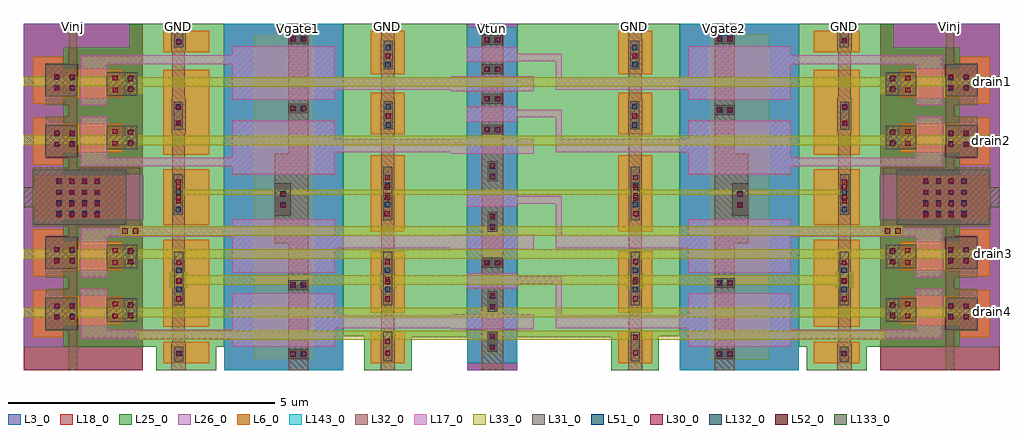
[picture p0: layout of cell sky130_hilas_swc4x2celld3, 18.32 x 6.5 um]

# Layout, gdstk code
from math import pi, radians
import gdstk
lib = gdstk.Library(unit=1e-6, precision=1e-09)
def R(c, l, rs):  # rectangles x0, y0, x1, y1
    for r in rs: c.add(gdstk.rectangle(r[:2], r[2:], *l))
def A(c, l, x, y, w, h, nx, ny, dx, dy):  # array of equal rectangles
    R(c, l, [(x+i*dx, y+j*dy, x+i*dx+w, y+j*dy+h) for i in range(nx) for j in range(ny)])
L3_0 = (3, 0)
L6_0 = (6, 0)
L17_0 = (17, 0)
L18_0 = (18, 0)
L25_0 = (25, 0)
L26_0 = (26, 0)
L30_0 = (30, 0)
L31_0 = (31, 0)
L32_0 = (32, 0)
L33_0 = (33, 0)
L51_0 = (51, 0)
L52_0 = (52, 0)
L132_0 = (132, 0)
L133_0 = (133, 0)
L143_0 = (143, 0)

sky130_hilas_tuncap01 = lib.new_cell('sky130_hilas_TunCap01')
R(sky130_hilas_tuncap01, L3_0, [(0,0,0.94,1.645)])
R(sky130_hilas_tuncap01, L6_0, [(0.27,0.16,0.67,1.485)])
R(sky130_hilas_tuncap01, L18_0, [(0,0,0.94,1.645)])
R(sky130_hilas_tuncap01, L26_0, [(0,0,0.835,1.645)])

m1_od_cdns_693790061186 = lib.new_cell('M1_OD_CDNS_693790061186')
R(m1_od_cdns_693790061186, L6_0, [(-0.075,-0.075,0.075,0.075)])
R(m1_od_cdns_693790061186, L30_0, [(-0.045,-0.045,0.045,0.045)])
R(m1_od_cdns_693790061186, L31_0, [(-0.085,-0.085,0.085,0.085)])

m2_m1_cdns_693790061181 = lib.new_cell('M2_M1_CDNS_693790061181')
R(m2_m1_cdns_693790061181, L31_0, [(-0.09,-0.19,0.09,0.19)])
R(m2_m1_cdns_693790061181, L32_0, [(-0.09,-0.19,0.09,0.19)])
R(m2_m1_cdns_693790061181, L51_0, [(-0.05,-0.15,0.05,-0.05), (-0.05,0.05,0.05,0.15)])

m1_od_cdns_693790061180 = lib.new_cell('M1_OD_CDNS_693790061180')
R(m1_od_cdns_693790061180, L6_0, [(-0.075,-0.18,0.075,0.18)])
R(m1_od_cdns_693790061180, L30_0, [(-0.045,-0.15,0.045,-0.06), (-0.045,0.06,0.045,0.15)])
R(m1_od_cdns_693790061180, L31_0, [(-0.085,-0.19,0.085,0.19)])

m3_m2_cdns_693790061185 = lib.new_cell('M3_M2_CDNS_693790061185')
R(m3_m2_cdns_693790061185, L32_0, [(-0.09,-0.19,0.09,0.19)])
R(m3_m2_cdns_693790061185, L33_0, [(-0.09,-0.19,0.09,0.19)])
R(m3_m2_cdns_693790061185, L52_0, [(-0.05,-0.15,0.05,-0.05), (-0.05,0.05,0.05,0.15)])

sky130_hilas_horizpcell0 = lib.new_cell('sky130_hilas_horizPcell01d3')
R(sky130_hilas_horizpcell0, L3_0, [(0,0,2.24,1.92)])
R(sky130_hilas_horizpcell0, L6_0, [(1.49,0.62,2.055,1.5), (0.38,0.85,1.49,1.39)])
R(sky130_hilas_horizpcell0, L17_0, [(0.67,0.59,1.17,0.76), (0.67,0.76,1.17,1.53)])
R(sky130_hilas_horizpcell0, L25_0, [(0.25,0.44,1.49,1.68)])
R(sky130_hilas_horizpcell0, L26_0, [(1.49,0.44,2.24,1.68)])
R(sky130_hilas_horizpcell0, L31_0, [(1.23,0.76,1.83,1.36), (0.1,0.91,0.68,1.35)])
R(sky130_hilas_horizpcell0, L32_0, [(1.23,0,1.39,0.74), (1.23,0.74,1.82,0.76), (1.21,0.76,1.82,1), (1.23,1,1.82,1.53), (1.23,1.53,1.39,1.92)])
R(sky130_hilas_horizpcell0, L33_0, [(0,0.99,0.14,1.17), (0.32,0.99,2.24,1.17)])
sky130_hilas_horizpcell0.add(gdstk.Reference(m1_od_cdns_693790061186, (0.515,1.015)))
sky130_hilas_horizpcell0.add(gdstk.Reference(m1_od_cdns_693790061186, (0.515,1.24)))
sky130_hilas_horizpcell0.add(gdstk.Reference(m2_m1_cdns_693790061181, (1.325,1.105)))
sky130_hilas_horizpcell0.add(gdstk.Reference(m2_m1_cdns_693790061181, (1.615,1.1)))
sky130_hilas_horizpcell0.add(gdstk.Reference(m2_m1_cdns_693790061181, (0.23,1.125)))
sky130_hilas_horizpcell0.add(gdstk.Reference(m1_od_cdns_693790061180, (1.615,1.1)))
sky130_hilas_horizpcell0.add(gdstk.Reference(m1_od_cdns_693790061180, (1.325,1.1)))
sky130_hilas_horizpcell0.add(gdstk.Reference(m3_m2_cdns_693790061185, (0.23,1.125)))

sky130_hilas_fgvaractorc = lib.new_cell('sky130_hilas_FGVaractorCapacitor')
R(sky130_hilas_fgvaractorc, L3_0, [(0,0,2.23,1.86)])
R(sky130_hilas_fgvaractorc, L6_0, [(0.56,0.325,1.67,1.555)])
R(sky130_hilas_fgvaractorc, L17_0, [(0.16,0.44,2.08,1.44)])
R(sky130_hilas_fgvaractorc, L18_0, [(0,0,2.23,1.86)])
R(sky130_hilas_fgvaractorc, L26_0, [(0,0.215,2.23,1.635)])
R(sky130_hilas_fgvaractorc, L32_0, [(0.65,0,1.03,1.86)])

m2_m1_cdns_693790061187 = lib.new_cell('M2_M1_CDNS_693790061187')
R(m2_m1_cdns_693790061187, L31_0, [(-0.45,-0.39,0.45,0.39)])
R(m2_m1_cdns_693790061187, L32_0, [(-0.45,-0.39,0.45,0.39)])
A(m2_m1_cdns_693790061187, L51_0, -0.41, -0.35, 0.1, 0.1, 4, 4, 0.24, 0.2)

m1_od_cdns_693790061188 = lib.new_cell('M1_OD_CDNS_693790061188')
R(m1_od_cdns_693790061188, L6_0, [(-0.435,-0.39,0.435,0.39)])
A(m1_od_cdns_693790061188, L30_0, -0.405, -0.36, 0.09, 0.09, 4, 4, 0.24, 0.21)
R(m1_od_cdns_693790061188, L31_0, [(-0.445,-0.4,0.445,0.4)])

m1_od_cdns_693790061182 = lib.new_cell('M1_OD_CDNS_693790061182')
R(m1_od_cdns_693790061182, L6_0, [(-0.18,-0.075,0.18,0.075)])
R(m1_od_cdns_693790061182, L30_0, [(-0.15,-0.045,-0.06,0.045), (0.06,-0.045,0.15,0.045)])
R(m1_od_cdns_693790061182, L31_0, [(-0.19,-0.085,0.19,0.085)])

m2_m1_cdns_693790061183 = lib.new_cell('M2_M1_CDNS_693790061183')
R(m2_m1_cdns_693790061183, L31_0, [(-0.19,-0.09,0.19,0.09)])
R(m2_m1_cdns_693790061183, L32_0, [(-0.19,-0.09,0.19,0.09)])
R(m2_m1_cdns_693790061183, L51_0, [(-0.15,-0.05,-0.05,0.05), (0.05,-0.05,0.15,0.05)])

sky130_hilas_cellattempt = lib.new_cell('sky130_hilas_cellAttempt01d3_pt1')
R(sky130_hilas_cellattempt, L3_0, [(0.48,0,1.42,0.13), (4.385,2.33,5.325,4.06), (7.51,2.87,9.75,3.62), (0.48,3.145,1.42,3.425), (0.48,6.365,1.42,6.5)])
R(sky130_hilas_cellattempt, L6_0, [(2.59,0.13,3.23,0.735), (6.26,0.13,7.13,0.535), (4.31,0.205,5.42,0.325), (6.26,0.815,7.13,2.445), (2.59,1.085,3.23,2.235), (4.31,1.51,5.42,1.78), (0.75,1.6,1.15,1.69), (2.59,2.61,3.23,4.035), (6.26,2.725,7.13,3.775), (7.82,2.84,9.59,3.65), (4.31,2.945,5.42,3.565), (0.75,2.99,1.15,3.58), (6.26,4.045,7.13,5.64), (2.59,4.43,3.23,5.205), (4.31,4.75,5.42,4.98), (0.75,4.88,1.15,4.89), (2.59,5.555,3.23,6.37), (6.26,5.965,7.13,6.37), (4.31,6.195,5.42,6.3)])
R(sky130_hilas_cellattempt, L17_0, [(5.83,0.59,8.18,0.76), (0.17,0.77,1.72,1.05), (1.72,0.79,3.91,1.03), (0.17,2.265,1.72,2.545), (1.72,2.29,3.93,2.53), (5.83,2.5,8.18,2.62), (5.83,2.62,8.18,2.67), (5.83,3.83,8.18,3.99), (0.17,4.065,1.72,4.345), (1.72,4.09,3.91,4.33), (0.17,5.235,1.72,5.515), (1.72,5.26,3.91,5.5), (5.83,5.74,8.18,5.87), (5.83,5.87,8.18,5.91)])
R(sky130_hilas_cellattempt, L18_0, [(0.48,0,1.42,0.13), (7.51,0,9.75,6.5), (4.385,2.33,5.325,4.06), (0.48,3.145,1.42,3.425), (0.48,6.365,1.42,6.5)])
R(sky130_hilas_cellattempt, L25_0, [(2.465,0,3.355,6.5), (6.135,0,7.255,6.5)])
R(sky130_hilas_cellattempt, L26_0, [(0.48,0,1.42,0.13), (3.75,0.185,5.98,0.215), (0.645,1.64,1.26,1.665), (7.51,2.82,9.75,3.67), (3.75,3.025,5.98,3.455), (0.48,3.03,1.42,3.555), (7.76,6.06,9.75,6.5), (3.75,6.275,5.98,6.32), (0.48,6.365,1.42,6.5)])
R(sky130_hilas_cellattempt, L30_0, [(6.785,0.265,6.875,0.355), (2.87,1.295,2.96,1.385), (6.79,1.295,6.88,1.385), (6.785,1.635,6.875,1.725), (2.87,1.655,2.96,1.745), (6.785,1.975,6.875,2.065), (2.87,1.99,2.96,2.08), (2.875,2.89,2.965,2.98), (6.795,3.13,6.885,3.22), (2.87,3.23,2.96,3.32), (6.8,3.48,6.89,3.57), (2.87,3.57,2.96,3.66), (6.8,4.59,6.89,4.68), (2.855,4.72,2.945,4.81), (6.8,4.895,6.89,4.985), (2.86,5.845,2.95,5.935), (6.79,6.115,6.88,6.205)])
R(sky130_hilas_cellattempt, L31_0, [(6.75,0.155,6.92,0.44), (2.83,0.17,3,0.72), (2.83,1.215,3,2.225), (6.75,1.215,6.92,2.225), (7.825,2.73,8.75,3.76), (8.75,2.73,9.555,3.76), (2.83,2.81,3,3.82), (4.73,2.9,5.03,3.505), (6.76,2.92,6.93,3.68), (6.76,4.51,6.93,5.04), (2.82,4.52,2.99,5.05), (2.82,5.65,2.99,6.18), (6.75,6.06,6.92,6.35)])
R(sky130_hilas_cellattempt, L32_0, [(0.745,0,1.145,6.5), (2.78,0,3.04,0.695), (4.4,0,4.78,0.6), (6.705,0,6.975,0.51), (6.72,0.51,6.96,1.54), (2.79,0.695,3.03,1.5), (2.78,1.5,3.04,1.82), (6.71,1.54,6.97,1.86), (2.79,1.82,3.03,4.43), (6.72,1.86,6.96,4.45), (4.73,2.385,5.03,4.06), (7.555,2.69,9.59,3.8), (2.78,4.43,3.04,5.09), (6.7,4.45,6.97,5.11), (2.79,5.09,3.03,5.56), (6.72,5.11,6.96,5.985), (2.78,5.56,3.04,6.22), (6.705,5.985,6.975,6.5), (4.4,6.17,4.78,6.5), (2.79,6.22,3.03,6.5)])
R(sky130_hilas_cellattempt, L33_0, [(0,0.57,7.6,0.74), (0,0.99,7.62,1.17), (2.75,1.53,3.07,1.6), (6.68,1.55,7,1.6), (2.75,1.6,7,1.78), (2.75,1.78,3.07,1.79), (6.68,1.78,7,1.84), (0,2.09,7.63,2.27), (0,2.52,7.62,2.7), (0,4.22,7.63,4.4), (7.51,5.185,7.65,5.32), (0,5.32,7.65,5.5)])
R(sky130_hilas_cellattempt, L51_0, [(6.78,0.26,6.88,0.36), (2.86,1.465,2.96,1.565), (6.78,1.465,6.88,1.565), (2.865,1.825,2.965,1.925), (6.78,1.825,6.88,1.925), (6.795,2.965,6.895,3.065), (2.865,3.06,2.965,3.16), (6.795,3.295,6.895,3.395), (2.865,3.42,2.965,3.52), (2.85,4.55,2.95,4.65), (6.795,4.585,6.895,4.685), (6.795,4.89,6.895,4.99), (2.85,4.9,2.95,5), (2.855,5.69,2.955,5.79), (2.85,6.01,2.95,6.11), (6.785,6.11,6.885,6.21)])
R(sky130_hilas_cellattempt, L52_0, [(2.86,1.61,2.96,1.71), (6.78,1.625,6.88,1.725)])
R(sky130_hilas_cellattempt, L143_0, [(3.75,0,5.98,6.5), (0.48,0.14,1.42,6.345)])
sky130_hilas_cellattempt.add(gdstk.Reference(sky130_hilas_tuncap01, (0.48,1.52)))
sky130_hilas_cellattempt.add(gdstk.Reference(sky130_hilas_tuncap01, (0.48,0.13)))
sky130_hilas_cellattempt.add(gdstk.Reference(sky130_hilas_tuncap01, (0.48,4.72)))
sky130_hilas_cellattempt.add(gdstk.Reference(sky130_hilas_tuncap01, (0.48,3.41)))
sky130_hilas_cellattempt.add(gdstk.Reference(sky130_hilas_horizpcell0, (7.51,3.24)))
sky130_hilas_cellattempt.add(gdstk.Reference(sky130_hilas_horizpcell0, (7.51,6.5), x_reflection=True))
sky130_hilas_cellattempt.add(gdstk.Reference(sky130_hilas_horizpcell0, (7.51,3.26), x_reflection=True))
sky130_hilas_cellattempt.add(gdstk.Reference(sky130_hilas_horizpcell0, (7.51,0)))
sky130_hilas_cellattempt.add(gdstk.Reference(sky130_hilas_fgvaractorc, (3.75,4.64)))
sky130_hilas_cellattempt.add(gdstk.Reference(sky130_hilas_fgvaractorc, (3.75,1.39)))
sky130_hilas_cellattempt.add(gdstk.Reference(sky130_hilas_fgvaractorc, (3.75,0)))
sky130_hilas_cellattempt.add(gdstk.Reference(sky130_hilas_fgvaractorc, (3.75,3.24)))
sky130_hilas_cellattempt.add(gdstk.Reference(m1_od_cdns_693790061186, (2.915,0.32)))
sky130_hilas_cellattempt.add(gdstk.Reference(m1_od_cdns_693790061186, (2.915,0.54)))
sky130_hilas_cellattempt.add(gdstk.Reference(m2_m1_cdns_693790061187, (8.725,3.24)))
sky130_hilas_cellattempt.add(gdstk.Reference(m1_od_cdns_693790061188, (8.725,3.23)))
sky130_hilas_cellattempt.add(gdstk.Reference(m1_od_cdns_693790061182, (4.59,0.305)))
sky130_hilas_cellattempt.add(gdstk.Reference(m1_od_cdns_693790061182, (4.59,1.6)))
sky130_hilas_cellattempt.add(gdstk.Reference(m1_od_cdns_693790061182, (4.59,4.91)))
sky130_hilas_cellattempt.add(gdstk.Reference(m1_od_cdns_693790061182, (4.59,6.215)))
sky130_hilas_cellattempt.add(gdstk.Reference(m2_m1_cdns_693790061183, (4.59,0.305)))
sky130_hilas_cellattempt.add(gdstk.Reference(m2_m1_cdns_693790061183, (4.59,1.6)))
sky130_hilas_cellattempt.add(gdstk.Reference(m2_m1_cdns_693790061183, (4.59,4.91)))
sky130_hilas_cellattempt.add(gdstk.Reference(m2_m1_cdns_693790061183, (4.59,6.215)))
sky130_hilas_cellattempt.add(gdstk.Reference(m1_od_cdns_693790061180, (4.875,3.2)))
sky130_hilas_cellattempt.add(gdstk.Reference(m2_m1_cdns_693790061181, (4.875,3.205)))

c_sky130_hilas_cellattempt = lib.new_cell('sky130_hilas_cellAttempt01d3_pt2')
R(c_sky130_hilas_cellattempt, L3_0, [(4.385,2.33,5.325,4.06), (7.51,2.87,9.75,3.62)])
R(c_sky130_hilas_cellattempt, L6_0, [(2.59,0.13,3.23,0.735), (6.26,0.13,7.13,0.535), (4.31,0.19,5.42,0.325), (6.26,0.815,7.13,2.445), (2.59,1.085,3.23,2.235), (4.31,1.51,5.42,1.78), (2.59,2.61,3.23,4.035), (6.26,2.725,7.13,3.775), (7.82,2.84,9.59,3.65), (4.31,2.945,5.42,3.565), (6.26,4.045,7.13,5.64), (2.59,4.43,3.23,5.205), (4.31,4.75,5.42,4.98), (2.59,5.555,3.23,6.37), (6.26,5.965,7.13,6.37), (4.31,6.195,5.42,6.31)])
R(c_sky130_hilas_cellattempt, L17_0, [(5.83,0.59,8.18,0.76), (1.42,0.79,3.91,1.03), (1.42,2.29,3.93,2.53), (5.83,2.5,8.18,2.62), (5.83,2.62,8.18,2.67), (5.83,3.83,8.18,3.99), (1.42,4.09,3.91,4.33), (1.42,5.26,3.91,5.5), (5.83,5.74,8.18,5.87), (5.83,5.87,8.18,5.91)])
R(c_sky130_hilas_cellattempt, L18_0, [(7.51,0,9.75,6.5), (4.385,2.33,5.325,4.06)])
R(c_sky130_hilas_cellattempt, L25_0, [(2.465,0,3.355,6.5), (6.135,0,7.255,6.5)])
R(c_sky130_hilas_cellattempt, L26_0, [(3.75,0.17,5.98,0.215), (7.51,2.82,9.75,3.67), (3.75,3.025,5.98,3.455), (7.76,6.06,9.75,6.5), (3.75,6.275,5.98,6.33)])
R(c_sky130_hilas_cellattempt, L30_0, [(6.785,0.265,6.875,0.355), (2.87,1.295,2.96,1.385), (6.79,1.295,6.88,1.385), (6.785,1.635,6.875,1.725), (2.87,1.655,2.96,1.745), (6.785,1.975,6.875,2.065), (2.87,1.99,2.96,2.08), (2.875,2.89,2.965,2.98), (6.795,3.13,6.885,3.22), (2.87,3.23,2.96,3.32), (6.8,3.48,6.89,3.57), (2.87,3.57,2.96,3.66), (6.8,4.59,6.89,4.68), (2.855,4.72,2.945,4.81), (6.8,4.895,6.89,4.985), (2.86,5.845,2.95,5.935), (6.79,6.145,6.88,6.235)])
R(c_sky130_hilas_cellattempt, L31_0, [(6.75,0.155,6.92,0.44), (2.83,0.165,3,0.715), (2.83,1.215,3,2.225), (6.75,1.215,6.92,2.225), (7.825,2.73,8.75,3.76), (8.75,2.73,9.555,3.76), (2.83,2.81,3,3.82), (4.73,2.9,5.03,3.505), (6.76,2.92,6.93,3.68), (6.76,4.51,6.93,5.04), (2.82,4.52,2.99,5.05), (2.82,5.65,2.99,6.18), (6.75,6.06,6.92,6.35)])
R(c_sky130_hilas_cellattempt, L32_0, [(2.78,0,3.04,0.695), (4.4,0,4.78,0.6), (6.705,0,6.975,0.51), (6.72,0.51,6.96,1.54), (2.79,0.695,3.03,1.5), (2.78,1.5,3.04,1.82), (6.71,1.54,6.97,1.86), (2.79,1.82,3.03,4.43), (6.72,1.86,6.96,4.45), (4.73,2.385,5.03,4.06), (7.555,2.69,9.59,3.8), (2.78,4.43,3.04,5.09), (6.7,4.45,6.97,5.11), (2.79,5.09,3.03,5.56), (6.72,5.11,6.96,5.985), (2.78,5.56,3.04,6.22), (6.705,5.985,6.975,6.5), (4.4,6.17,4.78,6.5), (2.79,6.22,3.03,6.5)])
R(c_sky130_hilas_cellattempt, L33_0, [(0,0.57,7.6,0.74), (0,0.99,7.62,1.17), (2.75,1.53,3.07,1.6), (6.68,1.55,7,1.6), (2.75,1.6,7,1.78), (2.75,1.78,3.07,1.79), (6.68,1.78,7,1.84), (0,2.09,7.63,2.27), (0,2.52,7.62,2.7), (0,4.22,7.63,4.4), (7.51,5.185,7.65,5.32), (0,5.32,7.65,5.5)])
R(c_sky130_hilas_cellattempt, L51_0, [(6.78,0.26,6.88,0.36), (2.86,1.465,2.96,1.565), (6.78,1.465,6.88,1.565), (2.865,1.825,2.965,1.925), (6.78,1.825,6.88,1.925), (6.795,2.965,6.895,3.065), (2.865,3.06,2.965,3.16), (6.795,3.295,6.895,3.395), (2.865,3.42,2.965,3.52), (2.85,4.55,2.95,4.65), (6.795,4.585,6.895,4.685), (6.795,4.89,6.895,4.99), (2.85,4.9,2.95,5), (2.855,5.69,2.955,5.79), (2.85,6.01,2.95,6.11), (6.785,6.14,6.885,6.24)])
R(c_sky130_hilas_cellattempt, L52_0, [(2.86,1.61,2.96,1.71), (6.78,1.625,6.88,1.725)])
R(c_sky130_hilas_cellattempt, L143_0, [(3.75,0,5.98,6.5)])
c_sky130_hilas_cellattempt.add(gdstk.Reference(sky130_hilas_horizpcell0, (7.51,3.24)))
c_sky130_hilas_cellattempt.add(gdstk.Reference(sky130_hilas_horizpcell0, (7.51,6.5), x_reflection=True))
c_sky130_hilas_cellattempt.add(gdstk.Reference(sky130_hilas_horizpcell0, (7.51,3.26), x_reflection=True))
c_sky130_hilas_cellattempt.add(gdstk.Reference(sky130_hilas_horizpcell0, (7.51,0)))
c_sky130_hilas_cellattempt.add(gdstk.Reference(sky130_hilas_fgvaractorc, (3.75,4.64)))
c_sky130_hilas_cellattempt.add(gdstk.Reference(sky130_hilas_fgvaractorc, (3.75,1.39)))
c_sky130_hilas_cellattempt.add(gdstk.Reference(sky130_hilas_fgvaractorc, (3.75,0)))
c_sky130_hilas_cellattempt.add(gdstk.Reference(sky130_hilas_fgvaractorc, (3.75,3.24)))
c_sky130_hilas_cellattempt.add(gdstk.Reference(m1_od_cdns_693790061186, (2.915,0.325)))
c_sky130_hilas_cellattempt.add(gdstk.Reference(m1_od_cdns_693790061186, (2.915,0.615)))
c_sky130_hilas_cellattempt.add(gdstk.Reference(m2_m1_cdns_693790061187, (8.725,3.24)))
c_sky130_hilas_cellattempt.add(gdstk.Reference(m1_od_cdns_693790061188, (8.725,3.23)))
c_sky130_hilas_cellattempt.add(gdstk.Reference(m1_od_cdns_693790061182, (4.59,0.305)))
c_sky130_hilas_cellattempt.add(gdstk.Reference(m1_od_cdns_693790061182, (4.59,6.215)))
c_sky130_hilas_cellattempt.add(gdstk.Reference(m1_od_cdns_693790061182, (4.59,1.635)))
c_sky130_hilas_cellattempt.add(gdstk.Reference(m1_od_cdns_693790061182, (4.59,4.885)))
c_sky130_hilas_cellattempt.add(gdstk.Reference(m2_m1_cdns_693790061183, (4.59,6.215)))
c_sky130_hilas_cellattempt.add(gdstk.Reference(m2_m1_cdns_693790061183, (4.59,0.305)))
c_sky130_hilas_cellattempt.add(gdstk.Reference(m2_m1_cdns_693790061183, (4.59,1.635)))
c_sky130_hilas_cellattempt.add(gdstk.Reference(m2_m1_cdns_693790061183, (4.59,4.885)))
c_sky130_hilas_cellattempt.add(gdstk.Reference(m1_od_cdns_693790061180, (4.875,3.2)))
c_sky130_hilas_cellattempt.add(gdstk.Reference(m2_m1_cdns_693790061181, (4.875,3.205)))

m3_m2_cdns_693790061184 = lib.new_cell('M3_M2_CDNS_693790061184')
R(m3_m2_cdns_693790061184, L32_0, [(-0.19,-0.09,0.19,0.09)])
R(m3_m2_cdns_693790061184, L33_0, [(-0.19,-0.09,0.19,0.09)])
R(m3_m2_cdns_693790061184, L52_0, [(-0.15,-0.05,-0.05,0.05), (0.05,-0.05,0.15,0.05)])

sky130_hilas_swc4x2celld = lib.new_cell('sky130_hilas_swc4x2celld3')
R(sky130_hilas_swc4x2celld, L3_0, [(8.33,6.29,9.27,6.435)])
R(sky130_hilas_swc4x2celld, L6_0, [(8.6,6.19,9,6.275)])
R(sky130_hilas_swc4x2celld, L17_0, [(9.995,1.03,10.11,1.62), (8.32,1.535,9.27,1.815), (9.27,1.62,10.11,1.76), (9.995,2.53,10.11,3.125), (8.32,3.065,9.27,3.345), (9.27,3.125,10.11,3.265), (9.995,4.33,10.11,4.745), (8.32,4.665,9.27,4.945), (9.27,4.745,10.11,4.885), (9.995,5.5,10.11,5.795), (8.32,5.785,9.27,6.065), (9.27,5.795,10.11,5.935)])
R(sky130_hilas_swc4x2celld, L18_0, [(8.33,6.29,9.27,6.39), (8.33,6.39,9.27,6.435)])
R(sky130_hilas_swc4x2celld, L25_0, [(1.99,0.44,2.495,2.82), (3.615,0.44,3.77,6.5), (14.555,0.44,14.71,6.5), (15.83,0.44,16.335,2.82), (7.285,0.62,8.33,6.5), (9.27,0.62,11.04,6.5), (6,0.64,6.395,6.5), (11.93,0.64,12.325,6.5), (2.24,2.82,2.495,3.67), (15.83,2.82,16.085,3.67), (1.99,3.67,2.495,6.5), (15.83,3.67,16.335,6.5)])
R(sky130_hilas_swc4x2celld, L26_0, [(3.77,0,6,0.185), (12.325,0,14.555,0.17), (8.33,0.13,8.435,6.365), (8.49,6.23,9.105,6.295), (8.49,6.295,9.105,6.385), (3.77,6.32,6,6.5), (12.325,6.33,14.555,6.5)])
R(sky130_hilas_swc4x2celld, L31_0, [(0,3.055,0.195,3.43), (18.13,3.055,18.325,3.43)])
R(sky130_hilas_swc4x2celld, L33_0, [(6.38,1.6,13.14,1.78)])
R(sky130_hilas_swc4x2celld, L132_0, [(12.975,6.29,13.355,6.5), (8.605,6.3,9.005,6.5), (4.97,6.31,5.35,6.5), (0.85,6.395,1.01,6.49), (17.315,6.395,17.475,6.49), (2.775,6.42,3.045,6.5), (6.7,6.42,6.97,6.5), (11.34,6.42,11.61,6.5), (15.28,6.42,15.55,6.5)])
R(sky130_hilas_swc4x2celld, L133_0, [(18.11,0.99,18.325,1.17), (18.1,2.09,18.325,2.27), (18.115,4.22,18.325,4.4), (18.15,5.33,18.325,5.51)])
R(sky130_hilas_swc4x2celld, L143_0, [(8.33,0.13,9.27,0.14), (8.33,6.345,9.27,6.435)])
sky130_hilas_swc4x2celld.add(gdstk.FlexPath([(2.875,3.34),(15.48,3.34)], 0.1, ends="flush", simple_path=True, layer=33, datatype=0))  # L33_0
sky130_hilas_swc4x2celld.add(gdstk.Reference(sky130_hilas_cellattempt, (9.75,0), rotation=pi, x_reflection=True))
sky130_hilas_swc4x2celld.add(gdstk.Reference(c_sky130_hilas_cellattempt, (8.575,0)))
sky130_hilas_swc4x2celld.add(gdstk.Reference(m1_od_cdns_693790061180, (8.805,0.53)))
sky130_hilas_swc4x2celld.add(gdstk.Reference(m1_od_cdns_693790061180, (8.805,1.29)))
sky130_hilas_swc4x2celld.add(gdstk.Reference(m1_od_cdns_693790061180, (8.805,2.785)))
sky130_hilas_swc4x2celld.add(gdstk.Reference(m1_od_cdns_693790061180, (8.805,3.735)))
sky130_hilas_swc4x2celld.add(gdstk.Reference(m2_m1_cdns_693790061181, (8.805,0.53)))
sky130_hilas_swc4x2celld.add(gdstk.Reference(m2_m1_cdns_693790061181, (8.805,1.29)))
sky130_hilas_swc4x2celld.add(gdstk.Reference(m2_m1_cdns_693790061181, (8.805,2.785)))
sky130_hilas_swc4x2celld.add(gdstk.Reference(m2_m1_cdns_693790061181, (8.805,3.735)))
sky130_hilas_swc4x2celld.add(gdstk.Reference(m1_od_cdns_693790061182, (8.8,2.015)))
sky130_hilas_swc4x2celld.add(gdstk.Reference(m1_od_cdns_693790061182, (8.8,4.515)))
sky130_hilas_swc4x2celld.add(gdstk.Reference(m1_od_cdns_693790061182, (8.8,5.095)))
sky130_hilas_swc4x2celld.add(gdstk.Reference(m1_od_cdns_693790061182, (8.8,5.65)))
sky130_hilas_swc4x2celld.add(gdstk.Reference(m1_od_cdns_693790061182, (8.8,6.2)))
sky130_hilas_swc4x2celld.add(gdstk.Reference(m2_m1_cdns_693790061183, (8.8,2.015)))
sky130_hilas_swc4x2celld.add(gdstk.Reference(m2_m1_cdns_693790061183, (8.8,4.515)))
sky130_hilas_swc4x2celld.add(gdstk.Reference(m2_m1_cdns_693790061183, (8.8,5.095)))
sky130_hilas_swc4x2celld.add(gdstk.Reference(m2_m1_cdns_693790061183, (8.8,5.65)))
sky130_hilas_swc4x2celld.add(gdstk.Reference(m2_m1_cdns_693790061183, (8.8,6.2)))
sky130_hilas_swc4x2celld.add(gdstk.Reference(m3_m2_cdns_693790061184, (2.005,2.61)))
sky130_hilas_swc4x2celld.add(gdstk.Reference(m3_m2_cdns_693790061184, (16.32,2.61)))
sky130_hilas_swc4x2celld.add(gdstk.Reference(m3_m2_cdns_693790061185, (2.905,3.34)))
sky130_hilas_swc4x2celld.add(gdstk.Reference(m3_m2_cdns_693790061185, (6.835,3.335)))
sky130_hilas_swc4x2celld.add(gdstk.Reference(m3_m2_cdns_693790061185, (11.495,3.33)))
sky130_hilas_swc4x2celld.add(gdstk.Reference(m3_m2_cdns_693790061185, (15.415,3.335)))
sky130_hilas_swc4x2celld.add(gdstk.Label('drain1', (18.19,5.425), layer=133, texttype=0))
sky130_hilas_swc4x2celld.add(gdstk.Label('drain2', (18.175,4.31), layer=133, texttype=0))
sky130_hilas_swc4x2celld.add(gdstk.Label('drain3', (18.205,2.18), layer=133, texttype=0))
sky130_hilas_swc4x2celld.add(gdstk.Label('drain4', (18.2,1.095), layer=133, texttype=0))
sky130_hilas_swc4x2celld.add(gdstk.Label('Vinj', (0.925,6.445), layer=132, texttype=0))
sky130_hilas_swc4x2celld.add(gdstk.Label('Vtun', (8.815,6.41), layer=132, texttype=0))
sky130_hilas_swc4x2celld.add(gdstk.Label('Vgate1', (5.16,6.415), layer=132, texttype=0))
sky130_hilas_swc4x2celld.add(gdstk.Label('Vgate2', (13.165,6.405), layer=132, texttype=0))
sky130_hilas_swc4x2celld.add(gdstk.Label('GND', (2.915,6.45), layer=132, texttype=0))
sky130_hilas_swc4x2celld.add(gdstk.Label('Vinj', (17.39,6.445), layer=132, texttype=0))
sky130_hilas_swc4x2celld.add(gdstk.Label('GND', (6.84,6.45), layer=132, texttype=0))
sky130_hilas_swc4x2celld.add(gdstk.Label('GND', (11.48,6.45), layer=132, texttype=0))
sky130_hilas_swc4x2celld.add(gdstk.Label('GND', (15.42,6.45), layer=132, texttype=0))

lib.write_gds('sky130_hilas_swc4x2celld3.gds')
